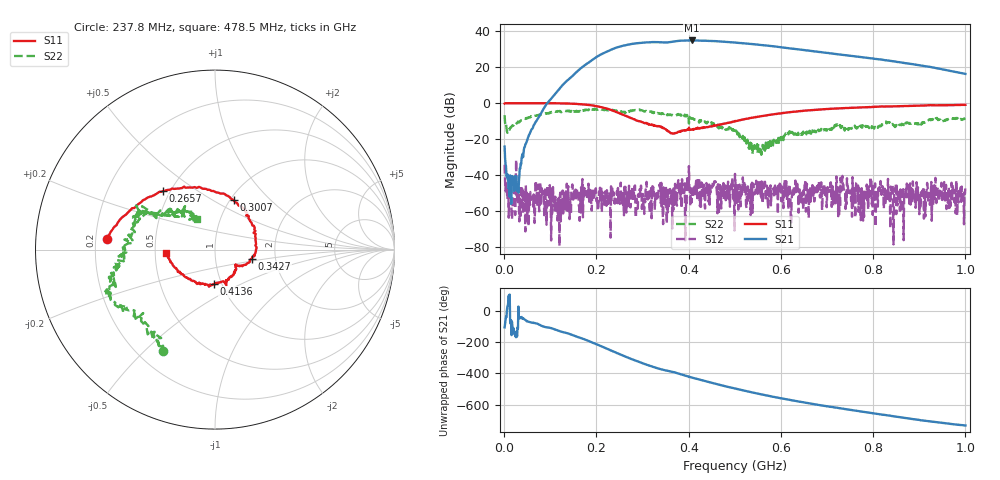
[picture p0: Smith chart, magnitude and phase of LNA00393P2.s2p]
! Created with skrf 1.9.0 (http://scikit-rf.org).
# Hz S RI R 50.0
!freq ReS11 ImS11 ReS21 ImS21 ReS12 ImS12 ReS22 ImS22
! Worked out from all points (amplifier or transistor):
!   1001 points, 1 MHz to 1 GHz, reference 50 ohm
!   highest |S21| = 34.9 dB at 406.6 MHz (marker M1)
!   |S21| within 3 dB of that: 256.9 MHz to 574.2 MHz (317.3 MHz wide, 76.3 % of centre) (the widest 1 of 2)
!   unconditionally stable (mu >= 1): 252.8 MHz to 396.6 MHz; 401 MHz to 935.1 MHz; 935.1 MHz to end of sweep (the widest 3 of 43)
!   at 166.8 MHz: K = 1.43, MAG = 29.3 dB, |S12| = -46.8 dB
!   at 500.5 MHz: K = 1.04, MAG = 35.3 dB, |S12| = -39.3 dB
!   at 1 GHz: K = 2.48, MAG = 24.5 dB, |S12| = -46.2 dB
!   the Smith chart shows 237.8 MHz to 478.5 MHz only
!   S11 on the Smith chart (normalised r, x): 237.8 MHz: 0.25, +0.04; 265.7 MHz: 0.46, +0.37; 300.7 MHz: 1.04, +0.63; 342.7 MHz: 1.51, -0.17; 413.6 MHz: 0.92, -0.36; 478.5 MHz: 0.57, -0.03
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1000000  0.9777 0.00353  -0.0167 -0.0598  -0.0176 -0.00796  0.3028 0.3494
1.08892e8  0.5393 -0.8398  -0.7891 -1.506  0.00123 -0.00149  0.4264 -0.3751
1.67833e8  -0.2041 -0.9116  -9.77 -0.7456  0.00218 0.000373  0.0502 -0.6181
2.08792e8  -0.6565 -0.4353  -16.04 15.67  -0.00175 -0.000173  -0.1944 -0.6367
2.37763e8  -0.604 0.0576  -4.888 32.98  0.003 0.000512  -0.2893 -0.5663
2.65735e8  -0.2882 0.3253  18.56 37.33  -0.00212 -0.000576  -0.4523 -0.3728
3.007e8  0.104 0.2745  44.16 19.72  -0.00257 0.00152  -0.5876 -0.2046
3.34666e8  0.2319 0.0106  49.36 -8.239  -0.00225 0.00295  -0.5219 -0.0363
3.42658e8  0.2057 -0.0527  47.48 -13.82  0.000859 0.00382  -0.5052 -0.0182
3.75625e8  0.116 -0.102  41.82 -34.32  0.000806 0.0048  -0.4556 0.1855
4.06594e8  0.0286 -0.1813  22.24 -51.23  0.00124 0.00122  -0.3233 0.2011
4.13587e8  -0.00776 -0.1914  16.85 -52.97  0.00425 0.0034  -0.2871 0.1882
4.45555e8  -0.1587 -0.1558  -7.207 -53.64  0.00128 0.000779  -0.1726 0.2198
4.78522e8  -0.2703 -0.0207  -27.57 -43.38  0.00298 0.000612  -0.1014 0.1714
5.005e8  -0.3044 0.0984  -36.36 -33  0.00504 0.00956  -0.0508 0.1511
5.32468e8  -0.2713 0.2769  -41.87 -16.22  5.19e-05 0.00347  -0.0334 0.0379
5.65435e8  -0.1648 0.4217  -40.79 -0.2036  0.00479 -0.00444  -0.0475 0.00545
6.11389e8  0.0433 0.5456  -31.18 15.01  0.00495 -0.00464  -0.135 -0.0473
6.67333e8  0.3118 0.5617  -16.03 23.15  0.00246 -0.000909  -0.1525 -0.0418
7.53247e8  0.6282 0.4066  1.857 20.57  -0.00127 -0.00373  -0.1968 -0.0155
8.34166e8  0.7932 0.1756  9.904 11.62  -0.00168 0.00125  -0.2934 -0.0437
1e9  0.8356 -0.337  6.365 -1.556  -0.00359 -0.00335  -0.3278 0.1747
